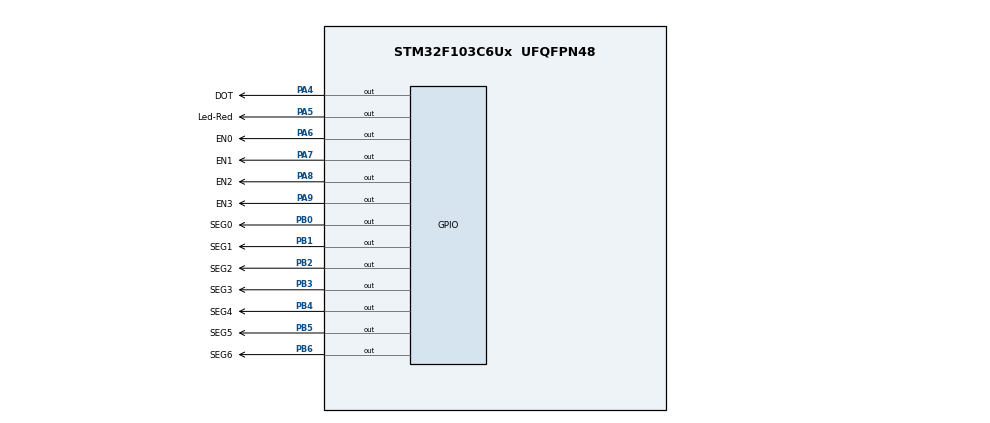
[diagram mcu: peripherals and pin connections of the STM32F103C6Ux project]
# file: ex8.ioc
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Mcu.Family=STM32F1
Mcu.Name=STM32F103C6Ux
Mcu.Package=UFQFPN48
NVIC.PriorityGroup=NVIC_PRIORITYGROUP_4
NVIC.TIM2_IRQn=true\:0\:0\:false\:false\:true\:true\:true
PA4.GPIO_Label=DOT
PA4.Signal=GPIO_Output
PA5.GPIO_Label=Led-Red
PA5.Signal=GPIO_Output
PA6.GPIO_Label=EN0
PA6.Signal=GPIO_Output
PA7.GPIO_Label=EN1
PA7.Signal=GPIO_Output
PA8.GPIO_Label=EN2
PA8.Signal=GPIO_Output
PA9.GPIO_Label=EN3
PA9.Signal=GPIO_Output
PB0.GPIO_Label=SEG0
PB0.Signal=GPIO_Output
PB1.GPIO_Label=SEG1
PB1.Signal=GPIO_Output
PB2.GPIO_Label=SEG2
PB2.Signal=GPIO_Output
PB3.GPIO_Label=SEG3
PB3.Signal=GPIO_Output
PB4.GPIO_Label=SEG4
PB4.Signal=GPIO_Output
PB5.GPIO_Label=SEG5
PB5.Signal=GPIO_Output
PB6.GPIO_Label=SEG6
PB6.Signal=GPIO_Output
ProjectManager.HeapSize=0x200
ProjectManager.StackSize=0x400
ProjectManager.TargetToolchain=STM32CubeIDE
RCC.APB1Freq_Value=8000000
RCC.APB2Freq_Value=8000000
TIM2.Period=9
TIM2.Prescaler=7999
VP_SYS_VS_ND.Mode=No_Debug
VP_TIM2_VS_ClockSourceINT.Mode=Internal
board=custom

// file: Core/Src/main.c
/* USER CODE BEGIN Header */
/**
  ******************************************************************************
  * @file           : main.c
  * @brief          : Giải quyết Bài 8 - Tối ưu Interrupt, chuyển quét LED vào main
  ******************************************************************************
  */
/* USER CODE END Header */
#include "main.h"

TIM_HandleTypeDef htim2;

void SystemClock_Config(void);
static void MX_TIM2_Init(void);
static void MX_GPIO_Init(void);

/* USER CODE BEGIN PFP */
void update7SEG(int index);
void display7SEG(uint8_t num);
void turnOffAll7SEG(void);
void updateClockBuffer(void);
/* USER CODE END PFP */

/* USER CODE BEGIN 0 */
int hour = 15;
int minute = 8;
int second = 50;
int led_buffer[4] = {1, 5, 0, 8};
int index_led = 0;
const int MAX_LED = 4;

int TIMER_CYCLE = 10;
int timer0_counter = 0, timer0_flag = 0; // Đếm giây cho đồng hồ (1000ms)
int timer1_counter = 0, timer1_flag = 0; // Nháy DOT (1000ms)
int timer2_counter = 0, timer2_flag = 0; // Quét LED 7 đoạn (250ms)

void setTimer0(int duration) {
    timer0_counter = duration / TIMER_CYCLE;
    timer0_flag = 0;
}
void setTimer1(int duration) {
    timer1_counter = duration / TIMER_CYCLE;
    timer1_flag = 0;
}
void setTimer2(int duration) {
    timer2_counter = duration / TIMER_CYCLE;
    timer2_flag = 0;
}

void timer_run() {
    if (timer0_counter > 0) {
        timer0_counter--;
        if (timer0_counter == 0) timer0_flag = 1;
    }
    if (timer1_counter > 0) {
        timer1_counter--;
        if (timer1_counter == 0) timer1_flag = 1;
    }
    if (timer2_counter > 0) {
        timer2_counter--;
        if (timer2_counter == 0) timer2_flag = 1;
    }
}

void updateClockBuffer(void) {
    led_buffer[0] = hour / 10;
    led_buffer[1] = hour % 10;
    led_buffer[2] = minute / 10;
    led_buffer[3] = minute % 10;
}

void display7SEG(uint8_t num) {
    const uint8_t segment[10][7] = {
        {1, 1, 1, 1, 1, 1, 0}, {0, 1, 1, 0, 0, 0, 0},
        {1, 1, 0, 1, 1, 0, 1}, {1, 1, 1, 1, 0, 0, 1},
        {0, 1, 1, 0, 0, 1, 1}, {1, 0, 1, 1, 0, 1, 1},
        {1, 0, 1, 1, 1, 1, 1}, {1, 1, 1, 0, 0, 0, 0},
        {1, 1, 1, 1, 1, 1, 1}, {1, 1, 1, 1, 0, 1, 1}
    };
    if (num > 9) return;
    HAL_GPIO_WritePin(SEG0_GPIO_Port, SEG0_Pin, segment[num][0] ? GPIO_PIN_RESET : GPIO_PIN_SET);
    HAL_GPIO_WritePin(SEG1_GPIO_Port, SEG1_Pin, segment[num][1] ? GPIO_PIN_RESET : GPIO_PIN_SET);
    HAL_GPIO_WritePin(SEG2_GPIO_Port, SEG2_Pin, segment[num][2] ? GPIO_PIN_RESET : GPIO_PIN_SET);
    HAL_GPIO_WritePin(SEG3_GPIO_Port, SEG3_Pin, segment[num][3] ? GPIO_PIN_RESET : GPIO_PIN_SET);
    HAL_GPIO_WritePin(SEG4_GPIO_Port, SEG4_Pin, segment[num][4] ? GPIO_PIN_RESET : GPIO_PIN_SET);
    HAL_GPIO_WritePin(SEG5_GPIO_Port, SEG5_Pin, segment[num][5] ? GPIO_PIN_RESET : GPIO_PIN_SET);
    HAL_GPIO_WritePin(SEG6_GPIO_Port, SEG6_Pin, segment[num][6] ? GPIO_PIN_RESET : GPIO_PIN_SET);
}

void turnOffAll7SEG(void) {
    HAL_GPIO_WritePin(EN0_GPIO_Port, EN0_Pin, GPIO_PIN_SET);
    HAL_GPIO_WritePin(EN1_GPIO_Port, EN1_Pin, GPIO_PIN_SET);
    HAL_GPIO_WritePin(EN2_GPIO_Port, EN2_Pin, GPIO_PIN_SET);
    HAL_GPIO_WritePin(EN3_GPIO_Port, EN3_Pin, GPIO_PIN_SET);
}

void update7SEG(int index) {
    turnOffAll7SEG();
    switch (index) {
        case 0: display7SEG(led_buffer[0]); HAL_GPIO_WritePin(EN0_GPIO_Port, EN0_Pin, GPIO_PIN_RESET); break;
        case 1: display7SEG(led_buffer[1]); HAL_GPIO_WritePin(EN1_GPIO_Port, EN1_Pin, GPIO_PIN_RESET); break;
        case 2: display7SEG(led_buffer[2]); HAL_GPIO_WritePin(EN2_GPIO_Port, EN2_Pin, GPIO_PIN_RESET); break;
        case 3: display7SEG(led_buffer[3]); HAL_GPIO_WritePin(EN3_GPIO_Port, EN3_Pin, GPIO_PIN_RESET); break;
    }
}
/* USER CODE END 0 */

int main(void)
{
    HAL_Init();
    SystemClock_Config();
    MX_GPIO_Init();
    MX_TIM2_Init();

    /* USER CODE BEGIN 2 */
    updateClockBuffer();
    HAL_TIM_Base_Start_IT(&htim2);

    setTimer0(1000);
    setTimer1(1000);
    setTimer2(250);  // Bài 8: Thiết lập chu kỳ 250ms cho hàm hiển thị LED
    /* USER CODE END 2 */

    while (1) {
        // 1. Cập nhật đồng hồ đếm giây
        if (timer0_flag == 1) {
            setTimer0(1000);
            second++;
            if (second >= 60) { second = 0; minute++; }
            if (minute >= 60) { minute = 0; hour++; }
            if (hour >= 24) hour = 0;
            updateClockBuffer();
        }

        // 2. Chớp tắt DOT LED
        if (timer1_flag == 1) {
            setTimer1(1000);
            HAL_GPIO_TogglePin(DOT_GPIO_Port, DOT_Pin);
        }

        // 3. Bài 8: Việc quét LED 7 đoạn được dời hoàn toàn xuống main
        if (timer2_flag == 1) {
            setTimer2(250);
            update7SEG(index_led);
            index_led++;
            if (index_led >= MAX_LED) index_led = 0;
        }
    }
}

void SystemClock_Config(void)
{
    RCC_OscInitTypeDef RCC_OscInitStruct = {0};
    RCC_ClkInitTypeDef RCC_ClkInitStruct = {0};

    RCC_OscInitStruct.OscillatorType = RCC_OSCILLATORTYPE_HSI;
    RCC_OscInitStruct.HSIState = RCC_HSI_ON;
    RCC_OscInitStruct.HSICalibrationValue = RCC_HSICALIBRATION_DEFAULT;
    RCC_OscInitStruct.PLL.PLLState = RCC_PLL_NONE;
    if (HAL_RCC_OscConfig(&RCC_OscInitStruct) != HAL_OK)
    {
        Error_Handler();
    }
    RCC_ClkInitStruct.ClockType = RCC_CLOCKTYPE_HCLK|RCC_CLOCKTYPE_SYSCLK
                                |RCC_CLOCKTYPE_PCLK1|RCC_CLOCKTYPE_PCLK2;
    RCC_ClkInitStruct.SYSCLKSource = RCC_SYSCLKSOURCE_HSI;
    RCC_ClkInitStruct.AHBCLKDivider = RCC_SYSCLK_DIV1;
    RCC_ClkInitStruct.APB1CLKDivider = RCC_HCLK_DIV1;
    RCC_ClkInitStruct.APB2CLKDivider = RCC_HCLK_DIV1;

    if (HAL_RCC_ClockConfig(&RCC_ClkInitStruct, FLASH_LATENCY_0) != HAL_OK)
    {
        Error_Handler();
    }
}

static void MX_TIM2_Init(void)
{
    TIM_ClockConfigTypeDef sClockSourceConfig = {0};
    TIM_MasterConfigTypeDef sMasterConfig = {0};

    htim2.Instance = TIM2;
    htim2.Init.Prescaler = 7999;
    htim2.Init.CounterMode = TIM_COUNTERMODE_UP;
    htim2.Init.Period = 9;
    htim2.Init.ClockDivision = TIM_CLOCKDIVISION_DIV1;
    htim2.Init.AutoReloadPreload = TIM_AUTORELOAD_PRELOAD_DISABLE;
    if (HAL_TIM_Base_Init(&htim2) != HAL_OK)
    {
        Error_Handler();
    }
    sClockSourceConfig.ClockSource = TIM_CLOCKSOURCE_INTERNAL;
    if (HAL_TIM_ConfigClockSource(&htim2, &sClockSourceConfig) != HAL_OK)
    {
        Error_Handler();
    }
    sMasterConfig.MasterOutputTrigger = TIM_TRGO_RESET;
    sMasterConfig.MasterSlaveMode = TIM_MASTERSLAVEMODE_DISABLE;
    if (HAL_TIMEx_MasterConfigSynchronization(&htim2, &sMasterConfig) != HAL_OK)
    {
        Error_Handler();
    }
}

static void MX_GPIO_Init(void)
{
    GPIO_InitTypeDef GPIO_InitStruct = {0};

    __HAL_RCC_GPIOA_CLK_ENABLE();
    __HAL_RCC_GPIOB_CLK_ENABLE();

    HAL_GPIO_WritePin(GPIOA, DOT_Pin|Led_Red_Pin|EN0_Pin|EN1_Pin|EN2_Pin|EN3_Pin, GPIO_PIN_RESET);
    HAL_GPIO_WritePin(GPIOB, SEG0_Pin|SEG1_Pin|SEG2_Pin|SEG3_Pin|SEG4_Pin|SEG5_Pin|SEG6_Pin, GPIO_PIN_RESET);

    GPIO_InitStruct.Pin = DOT_Pin|Led_Red_Pin|EN0_Pin|EN1_Pin|EN2_Pin|EN3_Pin;
    GPIO_InitStruct.Mode = GPIO_MODE_OUTPUT_PP;
    GPIO_InitStruct.Pull = GPIO_NOPULL;
    GPIO_InitStruct.Speed = GPIO_SPEED_FREQ_LOW;
    HAL_GPIO_Init(GPIOA, &GPIO_InitStruct);

    GPIO_InitStruct.Pin = SEG0_Pin|SEG1_Pin|SEG2_Pin|SEG3_Pin|SEG4_Pin|SEG5_Pin|SEG6_Pin;
    GPIO_InitStruct.Mode = GPIO_MODE_OUTPUT_PP;
    GPIO_InitStruct.Pull = GPIO_NOPULL;
    GPIO_InitStruct.Speed = GPIO_SPEED_FREQ_LOW;
    HAL_GPIO_Init(GPIOB, &GPIO_InitStruct);
}

/* USER CODE BEGIN 4 */
void HAL_TIM_PeriodElapsedCallback(TIM_HandleTypeDef *htim) {
    if (htim->Instance == TIM2) {
        // Bài 8: Ngắt Timer được giải phóng, chỉ làm đúng nhiệm vụ cập nhật đếm lùi!
        timer_run();
    }
}
/* USER CODE END 4 */

void Error_Handler(void)
{
    __disable_irq();
    while (1) {}
}
